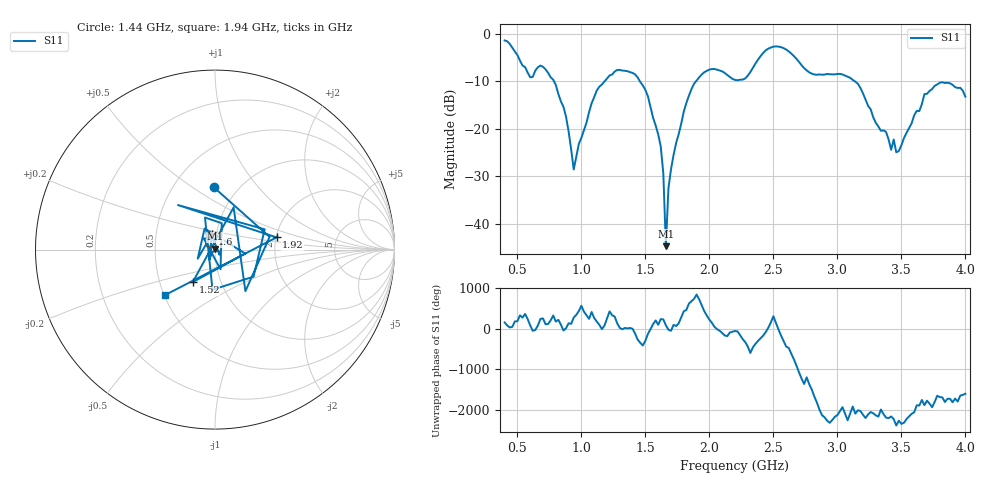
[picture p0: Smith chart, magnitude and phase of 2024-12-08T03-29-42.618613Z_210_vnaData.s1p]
!Created with skrf (http://scikit-rf.org).
# Hz S RI R 50.0
!freq ReS11 ImS11
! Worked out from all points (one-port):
!   181 points, 400 MHz to 4 GHz, reference 50 ohm
!   lowest |S11| = -44.8 dB at 1.66 GHz (marker M1), VSWR 1.01, Z = 50 + j0.576 ohm
!   |S11| at or under -10 dB: 786.6 MHz to 1.18 GHz (393.5 MHz wide, 40 % of centre); 1.458 GHz to 1.895 GHz (436.9 MHz wide, 26.1 % of centre); 3.138 GHz to end of sweep
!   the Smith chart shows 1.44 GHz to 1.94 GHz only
!   S11 on the Smith chart (normalised r, x): 1.44 GHz: 0.77, +0.61; 1.52 GHz: 0.73, -0.28; 1.6 GHz: 0.95, +0.16; 1.92 GHz: 2.01, +0.31; 1.94 GHz: 0.51, -0.30
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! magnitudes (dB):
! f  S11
! 400 MHz  -1.3
! 600 MHz  -9.1
! 720 MHz  -7.4
! 860 MHz  -15.4
! 940 MHz  -28.6
! 1.12 GHz  -11.9
! 1.3 GHz  -7.6
! 1.44 GHz  -9.2
! 1.52 GHz  -13.2
! 1.6 GHz  -21.2
! 1.64 GHz  -29.4
! 1.66 GHz  -44.8
! 1.68 GHz  -32.5
! 1.76 GHz  -21.1
! 1.92 GHz  -9.1
! 1.94 GHz  -8.5
! 2.2 GHz  -9.7
! 2.48 GHz  -2.8
! 2.66 GHz  -4.6
! 2.8 GHz  -8.4
! 3.1 GHz  -9.2
! 3.42 GHz  -24.4
! 3.44 GHz  -22.3
! 3.48 GHz  -24.7
! 3.56 GHz  -19.8
! 3.68 GHz  -12.7
! 3.8 GHz  -10.3
! 4 GHz  -13.2
